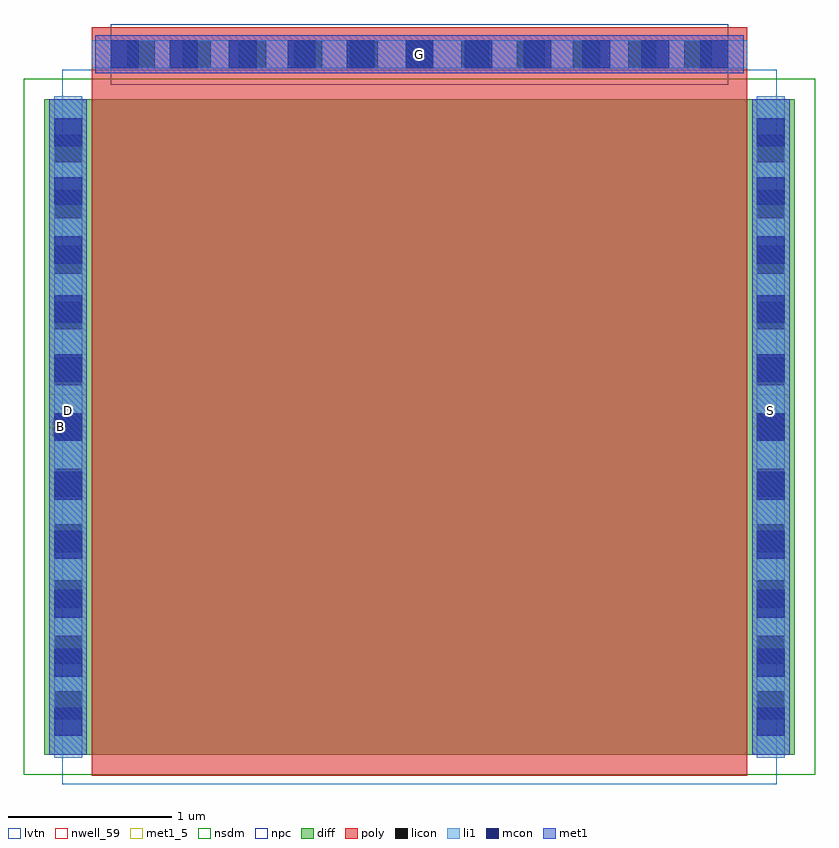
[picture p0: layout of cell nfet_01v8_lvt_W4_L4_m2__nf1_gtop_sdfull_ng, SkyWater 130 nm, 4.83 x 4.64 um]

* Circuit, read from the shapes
.subckt nfet_01v8_lvt_W4_L4_m2__nf1_gtop_sdfull_ng B D G S
XM1 S G D B sky130_fd_pr__nfet_01v8_lvt w=4 l=4
.ends

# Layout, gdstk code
import gdstk
lib = gdstk.Library(unit=1e-6, precision=1e-09)
def R(c, l, rs):  # rectangles x0, y0, x1, y1
    for r in rs: c.add(gdstk.rectangle(r[:2], r[2:], *l))
def A(c, l, x, y, w, h, nx, ny, dx, dy):  # array of equal rectangles
    R(c, l, [(x+i*dx, y+j*dy, x+i*dx+w, y+j*dy+h) for i in range(nx) for j in range(ny)])
nwell_59 = (64, 59)
diff = (65, 20)
poly = (66, 20)
licon = (66, 44)
li1 = (67, 20)
mcon = (67, 44)
met1_5 = (68, 5)
met1 = (68, 20)
nsdm = (93, 44)
npc = (95, 20)
lvtn = (125, 44)

sky130_fd_pr__nfet_01v8_ = lib.new_cell('sky130_fd_pr__nfet_01v8_lvt_A7YZVD')
R(sky130_fd_pr__nfet_01v8_, diff, [(-2.29,-2.155,2.29,1.845)])
R(sky130_fd_pr__nfet_01v8_, poly, [(-2,-2.285,2,2.285)])
A(sky130_fd_pr__nfet_01v8_, licon, -2.23, -1.94, 0.17, 0.17, 1, 11, 0, 0.34)
A(sky130_fd_pr__nfet_01v8_, licon, 2.06, -1.94, 0.17, 0.17, 1, 11, 0, 0.34)
A(sky130_fd_pr__nfet_01v8_, licon, -1.785, 2.035, 0.17, 0.17, 11, 1, 0.34, 0)
R(sky130_fd_pr__nfet_01v8_, li1, [(-2.23,-2.175,-2.06,1.865), (2.06,-2.175,2.23,1.865), (-2,2.035,2,2.205)])
A(sky130_fd_pr__nfet_01v8_, mcon, -2.23, -2.04, 0.17, 0.17, 1, 11, 0, 0.36)
A(sky130_fd_pr__nfet_01v8_, mcon, 2.06, -2.04, 0.17, 0.17, 1, 11, 0, 0.36)
A(sky130_fd_pr__nfet_01v8_, mcon, -1.885, 2.035, 0.17, 0.17, 11, 1, 0.36, 0)
R(sky130_fd_pr__nfet_01v8_, met1, [(-2.26,-2.155,-2.03,1.845), (2.03,-2.155,2.26,1.845), (-1.98,2.005,1.98,2.235)])
R(sky130_fd_pr__nfet_01v8_, nsdm, [(-2.415,-2.28,2.415,1.97)])
R(sky130_fd_pr__nfet_01v8_, npc, [(-1.885,1.935,1.885,2.305)])
R(sky130_fd_pr__nfet_01v8_, lvtn, [(-2.18,-2.335,2.18,2.025)])
sky130_fd_pr__nfet_01v8_.add(gdstk.Label('D', (-2.145,-0.155), layer=67, texttype=5))
sky130_fd_pr__nfet_01v8_.add(gdstk.Label('S', (2.145,-0.155), layer=67, texttype=5))
sky130_fd_pr__nfet_01v8_.add(gdstk.Label('G', (0,2.12), layer=67, texttype=5))

nfet_01v8_lvt_w4_l4_m2__ = lib.new_cell('nfet_01v8_lvt_W4_L4_m2__nf1_gtop_sdfull_ng')
R(nfet_01v8_lvt_w4_l4_m2__, nwell_59, [(0.05,2.08,0.15,2.18)])
R(nfet_01v8_lvt_w4_l4_m2__, met1_5, [(0.03,2.13,0.26,2.33), (4.32,2.13,4.55,2.33), (0.31,4.29,4.27,4.52)])
R(nfet_01v8_lvt_w4_l4_m2__, met1, [(0.03,2.13,0.26,2.33), (4.32,2.13,4.55,2.33), (0.31,4.29,4.27,4.52)])
nfet_01v8_lvt_w4_l4_m2__.add(gdstk.Reference(sky130_fd_pr__nfet_01v8_, (2.29,2.285)))
nfet_01v8_lvt_w4_l4_m2__.add(gdstk.Label('D', (0.145,2.23), layer=68, texttype=5))
nfet_01v8_lvt_w4_l4_m2__.add(gdstk.Label('S', (4.435,2.23), layer=68, texttype=5))
nfet_01v8_lvt_w4_l4_m2__.add(gdstk.Label('G', (2.29,4.405), layer=68, texttype=5))
nfet_01v8_lvt_w4_l4_m2__.add(gdstk.Label('B', (0.1,2.13), layer=64, texttype=59))

lib.write_gds('nfet_01v8_lvt_W4_L4_m2__nf1_gtop_sdfull_ng.gds')
